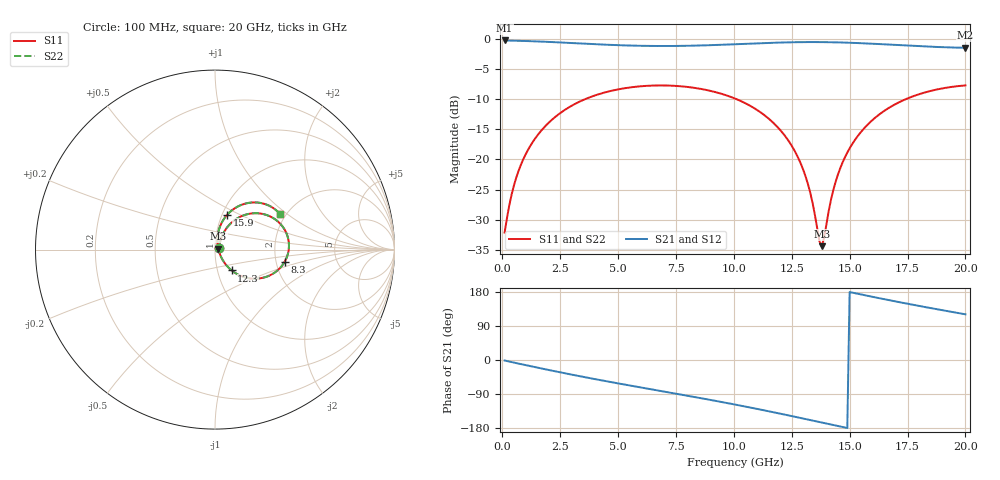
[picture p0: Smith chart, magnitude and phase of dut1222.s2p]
! Touchstone file exported from HFSS 2026.1.0
!  File:  C:/ffzhzh/LocalFiles/Ansys_Project_Files/temp_train_TSV_RDL_1222_1783321166_5512.aedt
!  Generated:  03:12:22 PM Jul  6, 2026
!  Design:  TSV_RDL
!  Project:  temp_train_TSV_RDL_1222_1783321166_5512
! Variables:
!  h_bsmrdl = 3.28um
!  h_ox = 20um
!  h_rdl = 5um
!  h_sub = 76.32um
!  h_tmrdl = 4.13um
!  h_tsv = 76.32um
!  h_via = 3um
!  l_bsmrdl = 583.62um
!  l_sub = 3840.24um
!  l_tmrdl = 394.94um
!  m_sub = 200um
!  pitch = 38.08um
!  r_tsv = 9.29um
!  s_tmrdl = 10um
!  w_bsmrdl = 26.21um
!  w_sub = 500um
!  w_tmrdl = 10.33um
!  x_tsv_center1 = 400.105um
!  x_tsv_center2 = 1009.935um
!  x_tsv_center3 = 1415.205um
!  x_tsv_center4 = 2025.035um
!  x_tsv_center5 = 2430.305um
!  x_tsv_center6 = 3040.135um
# GHz S MA R 50.000000
! Terminal data exported
! Port[1] = TM_RDL1_1_T1
! Port[2] = TM_RDL5_1_T1
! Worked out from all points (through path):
!   200 points, 100 MHz to 20 GHz, reference 50 ohm
!   highest |S21| = -0.19 dB at 100 MHz (marker M1); lowest = -1.4 dB at 20 GHz (marker M2)
!   group delay of S21, straight-line fit = 33.1 ps
!   lowest |S11| = -34.4 dB at 13.8 GHz (marker M3), VSWR 1.04, Z = 51.8 + j0.59 ohm
!   |S11| at or under -10 dB: start of sweep to 3.555 GHz; 10.14 GHz to 17.4 GHz (7.267 GHz wide, 52.8 % of centre)
!   |S22| runs from -34.4 to -7.7 dB; largest |S21 - S12| = 2.9e-14
!   S11 on the Smith chart (normalised r, x): 100 MHz: 1.04, +0.02; 8.3 GHz: 2.23, -0.35; 12.3 GHz: 1.17, -0.28; 15.9 GHz: 1.06, +0.43; 20 GHz: 1.87, +0.88
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0.1  0.02465 27.5  0.9784 -1.4  0.9784 -1.4  0.02465 27.5
! Gamma 0 0 0 0
! Port Impedance 50 0 50 0
0.5  0.06053 59.5  0.9741 -6.8  0.9741 -6.8  0.06053 59.5
1.2  0.1288 62.1  0.9653 -16.0  0.9653 -16.0  0.1288 62.1
2.2  0.2188 53.9  0.9479 -28.8  0.9479 -28.8  0.2188 53.9
3.5  0.313 40.3  0.9208 -44.6  0.9208 -44.6  0.313 40.3
5.1  0.3863 23.3  0.8925 -62.8  0.8925 -62.8  0.3863 23.3
6.8  0.4131 5.7  0.8796 -81.3  0.8796 -81.3  0.4131 5.7
8.3  0.3944 -9.8  0.886 -97.6  0.886 -97.6  0.3944 -9.8
10.1  0.3185 -28.9  0.9106 -118.1  0.9106 -118.1  0.3185 -28.9
11.3  0.2353 -41.8  0.9303 -132.7  0.9303 -132.7  0.2353 -41.8
12.3  0.1487 -51.4  0.9431 -145.4  0.9431 -145.4  0.1487 -51.4
12.9  0.09149 -54.3  0.9475 -153.2  0.9475 -153.2  0.09151 -54.3
13.4  0.0435 -46.9  0.9487 -159.8  0.9487 -159.8  0.04354 -46.8
13.7  0.02074 -10.8  0.9483 -163.7  0.9483 -163.7  0.02079 -10.7
13.8  0.01898 17.4  0.9479 -165.0  0.9479 -165.0  0.01903 17.4
14.2  0.04659 73.2  0.9455 -170.3  0.9455 -170.3  0.0466 73.2
14.6  0.08506 79.3  0.9417 -175.5  0.9417 -175.5  0.08505 79.2
15.2  0.1426 77.0  0.9333 176.7  0.9333 176.7  0.1426 77.0
15.9  0.2055 70.7  0.9206 167.8  0.9206 167.8  0.2055 70.7
16.7  0.269 62.5  0.9038 158.0  0.9038 158.0  0.269 62.5
18.3  0.3635 45.6  0.8712 139.3  0.8712 139.3  0.3635 45.7
20  0.4132 28.3  0.8499 120.6  0.8499 120.6  0.4132 28.3
